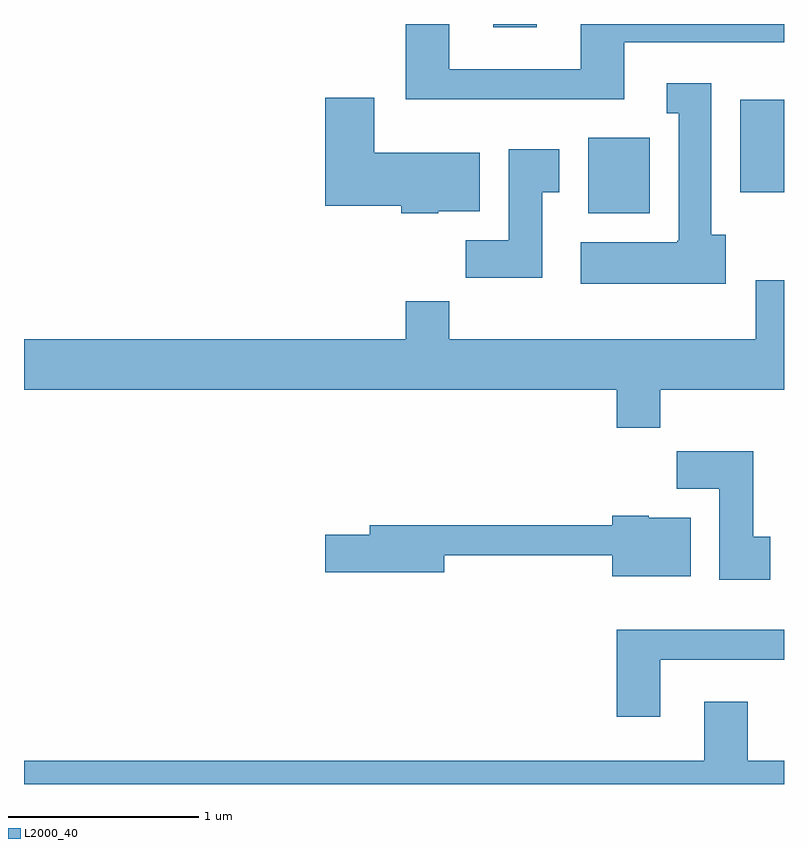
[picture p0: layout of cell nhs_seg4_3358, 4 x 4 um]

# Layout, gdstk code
import gdstk
lib = gdstk.Library(unit=1e-6, precision=1e-09)
def R(c, l, rs):  # rectangles x0, y0, x1, y1
    for r in rs: c.add(gdstk.rectangle(r[:2], r[2:], *l))
def P(c, l, *ps):  # polygons
    for p in ps: c.add(gdstk.Polygon(p, *l))
L2000_40 = (2000, 40)

nhs_seg4_3358 = lib.new_cell('nhs_seg4_3358')
R(nhs_seg4_3358, L2000_40, [(286.581,1308.986,286.904,1309.384), (287.381,1309.096,287.611,1309.584), (286.081,1309.966,286.309,1309.982)])
P(nhs_seg4_3358, L2000_40, [(286.769,1309.886),(287.611,1309.886),(287.611,1309.982),(286.541,1309.982),(286.541,1309.744),(285.849,1309.744),(285.849,1309.982),(285.621,1309.982),(285.621,1309.586),(286.769,1309.586)],
  [(287.304,1308.874),(287.229,1308.874),(287.229,1309.669),(286.993,1309.669),(286.993,1309.511),(287.056,1309.511),(287.056,1308.84),(287.05,1308.84),(287.05,1308.834),(286.541,1308.834),(286.541,1308.616),(287.304,1308.616)],
  [(285.79,1308.996),(286.009,1308.996),(286.009,1309.304),(285.454,1309.304),(285.454,1309.594),(285.196,1309.594),(285.196,1309.026),(285.596,1309.026),(285.596,1308.986),(285.79,1308.986)],
  [(286.339,1309.096),(286.429,1309.096),(286.429,1309.324),(286.161,1309.324),(286.161,1308.844),(285.936,1308.844),(285.936,1308.646),(286.339,1308.646)],
  [(286.959,1308.056),(287.611,1308.056),(287.611,1308.634),(287.461,1308.634),(287.461,1308.324),(285.849,1308.324),(285.849,1308.524),(285.621,1308.524),(285.621,1308.324),(283.611,1308.324),(283.611,1308.056),(286.731,1308.056),(286.731,1307.856),(286.959,1307.856)],
  [(287.539,1307.284),(287.449,1307.284),(287.449,1307.734),(287.046,1307.734),(287.046,1307.536),(287.271,1307.536),(287.271,1307.056),(287.539,1307.056)],
  [(287.119,1307.384),(286.9,1307.384),(286.9,1307.394),(286.706,1307.394),(286.706,1307.344),(285.431,1307.344),(285.431,1307.294),(285.196,1307.294),(285.196,1307.096),(285.824,1307.096),(285.824,1307.186),(286.706,1307.186),(286.706,1307.076),(287.119,1307.076)],
  [(286.959,1306.636),(287.611,1306.636),(287.611,1306.794),(286.731,1306.794),(286.731,1306.336),(286.959,1306.336)],
  [(287.611,1306.104),(287.419,1306.104),(287.419,1306.414),(287.191,1306.414),(287.191,1306.104),(283.611,1306.104),(283.611,1305.982),(287.611,1305.982)])

lib.write_gds('nhs_seg4_3358.gds')
